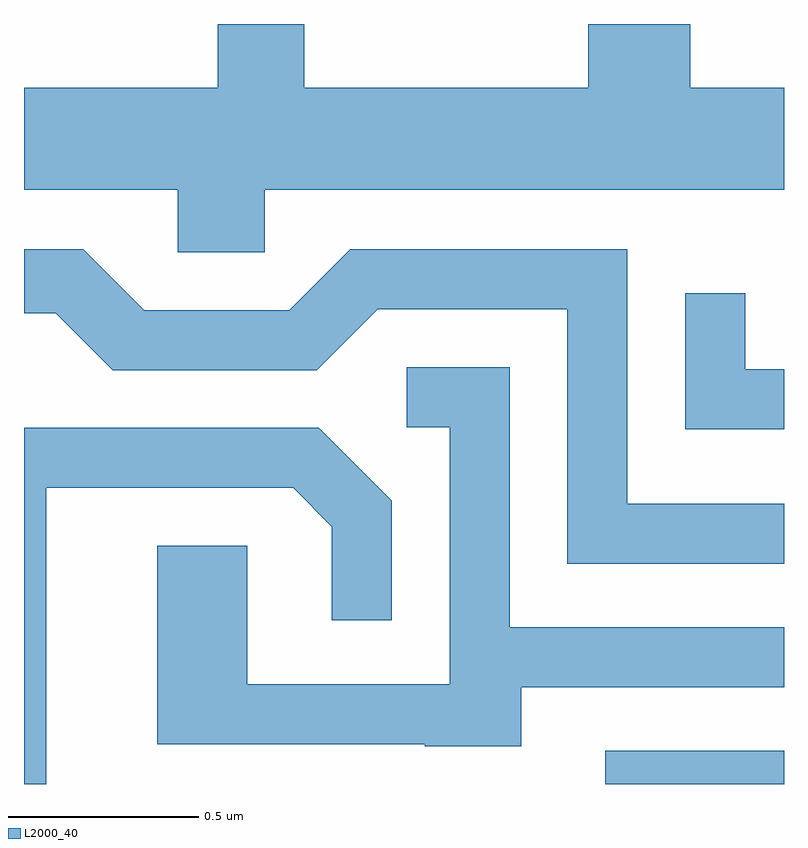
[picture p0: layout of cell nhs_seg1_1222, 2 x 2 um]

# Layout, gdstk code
import gdstk
lib = gdstk.Library(unit=1e-6, precision=1e-09)
def R(c, l, rs):  # rectangles x0, y0, x1, y1
    for r in rs: c.add(gdstk.rectangle(r[:2], r[2:], *l))
def P(c, l, *ps):  # polygons
    for p in ps: c.add(gdstk.Polygon(p, *l))
L2000_40 = (2000, 40)

nhs_seg1_1222 = lib.new_cell('nhs_seg1_1222')
R(nhs_seg1_1222, L2000_40, [(195.141,975.712,195.611,975.799)])
P(nhs_seg1_1222, L2000_40, [(194.244,977.276),(195.611,977.276),(195.611,977.544),(195.364,977.544),(195.364,977.712),(195.096,977.712),(195.096,977.544),(194.349,977.544),(194.349,977.712),(194.121,977.712),(194.121,977.544),(193.611,977.544),(193.611,977.276),(194.016,977.276),(194.016,977.111),(194.244,977.111)],
  [(195.611,976.449),(195.199,976.449),(195.199,977.119),(194.469,977.119),(194.309,976.959),(193.927,976.959),(193.767,977.119),(193.611,977.119),(193.611,976.951),(193.694,976.951),(193.844,976.801),(194.382,976.801),(194.542,976.961),(195.041,976.961),(195.041,976.291),(195.611,976.291)],
  [(195.611,976.804),(195.509,976.804),(195.509,977.003),(195.351,977.003),(195.351,976.646),(195.611,976.646)],
  [(194.919,975.966),(195.611,975.966),(195.611,976.124),(194.889,976.124),(194.889,976.809),(194.618,976.809),(194.618,976.651),(194.731,976.651),(194.731,975.974),(194.199,975.974),(194.199,976.339),(193.961,976.339),(193.961,975.816),(194.665,975.816),(194.665,975.811),(194.919,975.811)],
  [(193.669,976.491),(194.319,976.491),(194.421,976.389),(194.421,976.143),(194.579,976.143),(194.579,976.457),(194.387,976.649),(193.611,976.649),(193.611,975.712),(193.669,975.712)])

lib.write_gds('nhs_seg1_1222.gds')
